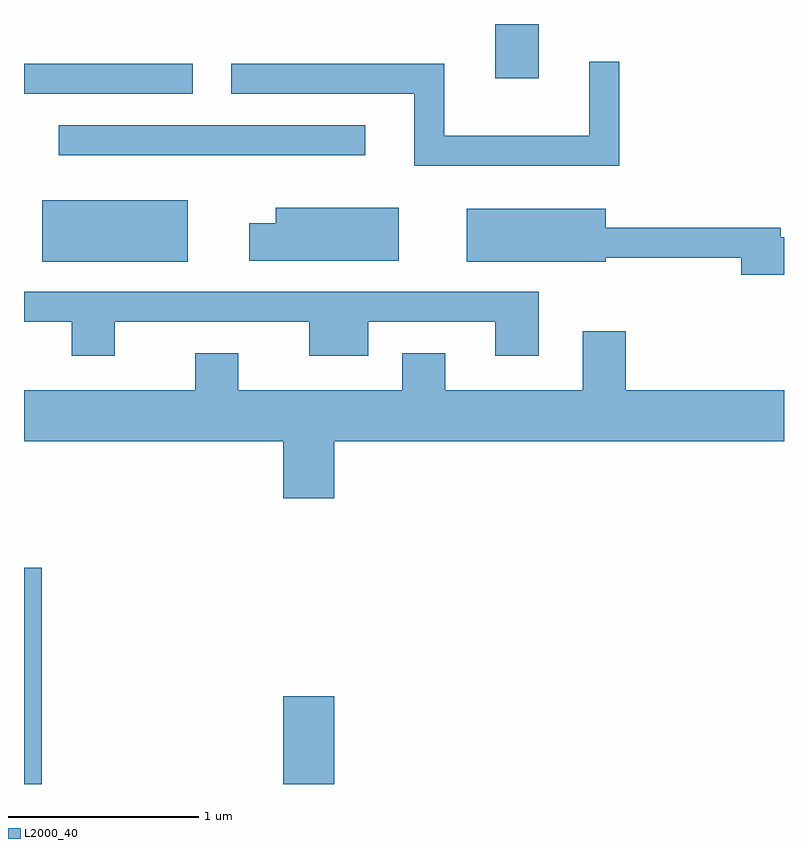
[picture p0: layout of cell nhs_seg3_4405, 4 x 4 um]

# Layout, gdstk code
import gdstk
lib = gdstk.Library(unit=1e-6, precision=1e-09)
def R(c, l, rs):  # rectangles x0, y0, x1, y1
    for r in rs: c.add(gdstk.rectangle(r[:2], r[2:], *l))
def P(c, l, *ps):  # polygons
    for p in ps: c.add(gdstk.Polygon(p, *l))
L2000_40 = (2000, 40)

nhs_seg3_4405 = lib.new_cell('nhs_seg3_4405')
R(nhs_seg3_4405, L2000_40, [(313.611,1221.892,313.704,1223.029), (314.976,1221.892,315.244,1222.354), (313.706,1224.641,314.474,1224.964), (313.793,1225.201,315.408,1225.359), (313.611,1225.526,314.498,1225.684), (316.091,1225.606,316.319,1225.892)])
P(nhs_seg3_4405, L2000_40, [(316.744,1225.693),(316.586,1225.693),(316.586,1225.304),(315.824,1225.304),(315.824,1225.684),(314.703,1225.684),(314.703,1225.526),(315.666,1225.526),(315.666,1225.146),(316.744,1225.146)],
  [(315.584,1224.924),(314.936,1224.924),(314.936,1224.844),(314.796,1224.844),(314.796,1224.646),(315.584,1224.646)],
  [(317.611,1224.769),(317.594,1224.769),(317.594,1224.819),(316.674,1224.819),(316.674,1224.919),(315.941,1224.919),(315.941,1224.641),(316.674,1224.641),(316.674,1224.661),(317.386,1224.661),(317.386,1224.571),(317.611,1224.571)],
  [(314.089,1224.326),(315.111,1224.326),(315.111,1224.146),(315.424,1224.146),(315.424,1224.326),(316.091,1224.326),(316.091,1224.146),(316.319,1224.146),(316.319,1224.484),(313.611,1224.484),(313.611,1224.326),(313.861,1224.326),(313.861,1224.146),(314.089,1224.146)],
  [(315.244,1223.696),(317.611,1223.696),(317.611,1223.964),(316.779,1223.964),(316.779,1224.274),(316.551,1224.274),(316.551,1223.964),(315.829,1223.964),(315.829,1224.159),(315.601,1224.159),(315.601,1223.964),(314.739,1223.964),(314.739,1224.159),(314.511,1224.159),(314.511,1223.964),(313.611,1223.964),(313.611,1223.696),(314.976,1223.696),(314.976,1223.396),(315.244,1223.396)])

lib.write_gds('nhs_seg3_4405.gds')
